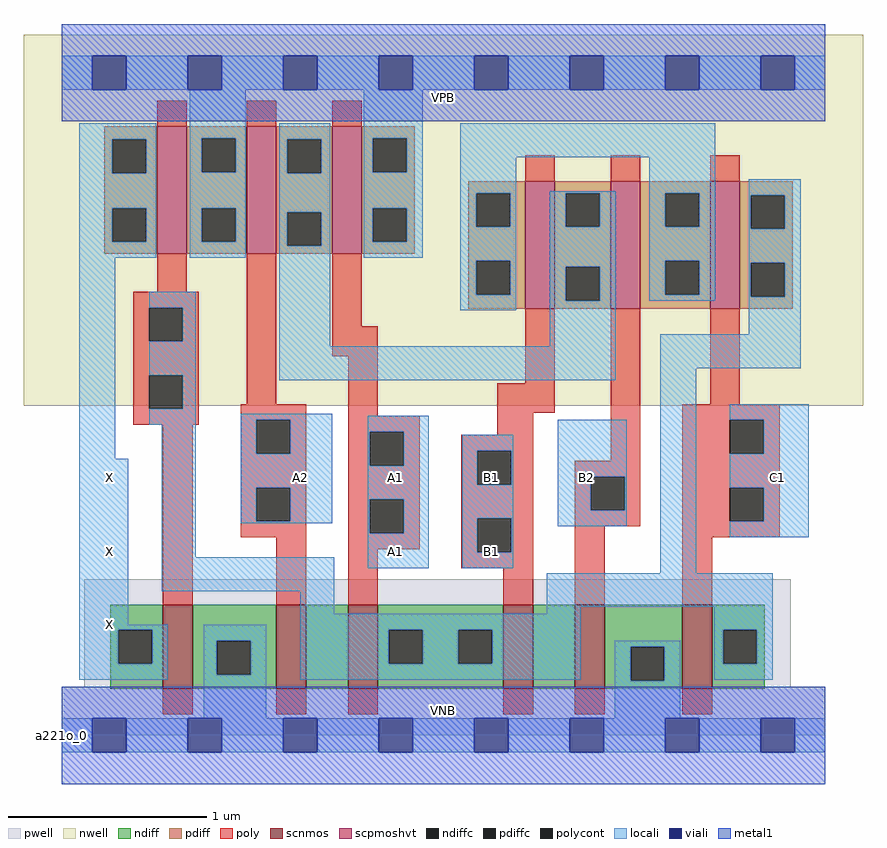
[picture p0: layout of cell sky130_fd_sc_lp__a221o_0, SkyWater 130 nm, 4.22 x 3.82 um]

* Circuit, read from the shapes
.subckt sky130_fd_sc_lp__a221o_0 A1 A2 B1 B2 C1 VGND VNB VPB VPWR X
XM1 VGND n1 X VNB sky130_fd_pr__nfet_01v8 w=0.42 l=0.15
XM2 n2 A2 VGND VNB sky130_fd_pr__nfet_01v8 w=0.42 l=0.15
XM3 n1 A1 n2 VNB sky130_fd_pr__nfet_01v8 w=0.42 l=0.15
XM4 n3 B1 n1 VNB sky130_fd_pr__nfet_01v8 w=0.42 l=0.15
XM5 VGND B2 n3 VNB sky130_fd_pr__nfet_01v8 w=0.42 l=0.15
XM6 n1 C1 VGND VNB sky130_fd_pr__nfet_01v8 w=0.42 l=0.15
XM7 VPWR n1 X VPB sky130_fd_pr__pfet_01v8_hvt w=0.64 l=0.15
XM8 n4 A2 VPWR VPB sky130_fd_pr__pfet_01v8_hvt w=0.64 l=0.15
XM9 VPWR A1 n4 VPB sky130_fd_pr__pfet_01v8_hvt w=0.64 l=0.15
XM10 n4 B1 n5 VPB sky130_fd_pr__pfet_01v8_hvt w=0.64 l=0.15
XM11 n5 B2 n4 VPB sky130_fd_pr__pfet_01v8_hvt w=0.64 l=0.15
XM12 n1 C1 n5 VPB sky130_fd_pr__pfet_01v8_hvt w=0.64 l=0.15
.ends

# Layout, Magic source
magic
tech sky130A
magscale 1 2
<< nwell >>
rect -38 331 806 704
<< pwell >>
rect 23 49 733 157
rect 0 0 768 49
<< scnmos >>
rect 102 47 132 131
rect 216 47 246 131
rect 288 47 318 131
rect 444 47 474 131
rect 516 47 546 131
rect 624 47 654 131
<< scpmoshvt >>
rect 96 484 126 612
rect 186 484 216 612
rect 272 484 302 612
rect 466 429 496 557
rect 552 429 582 557
rect 652 429 682 557
<< ndiff >>
rect 49 106 102 131
rect 49 72 57 106
rect 91 72 102 106
rect 49 47 102 72
rect 132 95 216 131
rect 132 61 156 95
rect 190 61 216 95
rect 132 47 216 61
rect 246 47 288 131
rect 318 106 444 131
rect 318 72 329 106
rect 363 72 399 106
rect 433 72 444 106
rect 318 47 444 72
rect 474 47 516 131
rect 546 89 624 131
rect 546 55 572 89
rect 606 55 624 89
rect 546 47 624 55
rect 654 106 707 131
rect 654 72 665 106
rect 699 72 707 106
rect 654 47 707 72
<< pdiff >>
rect 43 599 96 612
rect 43 565 51 599
rect 85 565 96 599
rect 43 530 96 565
rect 43 496 51 530
rect 85 496 96 530
rect 43 484 96 496
rect 126 600 186 612
rect 126 566 141 600
rect 175 566 186 600
rect 126 530 186 566
rect 126 496 141 530
rect 175 496 186 530
rect 126 484 186 496
rect 216 599 272 612
rect 216 565 227 599
rect 261 565 272 599
rect 216 526 272 565
rect 216 492 227 526
rect 261 492 272 526
rect 216 484 272 492
rect 302 600 355 612
rect 302 566 313 600
rect 347 566 355 600
rect 302 530 355 566
rect 302 496 313 530
rect 347 496 355 530
rect 302 484 355 496
rect 409 545 466 557
rect 409 511 417 545
rect 451 511 466 545
rect 409 477 466 511
rect 409 443 417 477
rect 451 443 466 477
rect 409 429 466 443
rect 496 545 552 557
rect 496 511 507 545
rect 541 511 552 545
rect 496 471 552 511
rect 496 437 507 471
rect 541 437 552 471
rect 496 429 552 437
rect 582 545 652 557
rect 582 511 607 545
rect 641 511 652 545
rect 582 477 652 511
rect 582 443 607 477
rect 641 443 652 477
rect 582 429 652 443
rect 682 543 735 557
rect 682 509 693 543
rect 727 509 735 543
rect 682 475 735 509
rect 682 441 693 475
rect 727 441 735 475
rect 682 429 735 441
<< ndiffc >>
rect 57 72 91 106
rect 156 61 190 95
rect 329 72 363 106
rect 399 72 433 106
rect 572 55 606 89
rect 665 72 699 106
<< pdiffc >>
rect 51 565 85 599
rect 51 496 85 530
rect 141 566 175 600
rect 141 496 175 530
rect 227 565 261 599
rect 227 492 261 526
rect 313 566 347 600
rect 313 496 347 530
rect 417 511 451 545
rect 417 443 451 477
rect 507 511 541 545
rect 507 437 541 471
rect 607 511 641 545
rect 607 443 641 477
rect 693 509 727 543
rect 693 441 727 475
<< poly >>
rect 96 612 126 638
rect 186 612 216 638
rect 272 612 302 638
rect 466 557 496 583
rect 552 557 582 583
rect 652 557 682 583
rect 96 446 126 484
rect 72 430 138 446
rect 72 396 88 430
rect 122 396 138 430
rect 72 362 138 396
rect 72 328 88 362
rect 122 328 138 362
rect 186 333 216 484
rect 272 411 302 484
rect 272 381 318 411
rect 72 312 138 328
rect 180 317 246 333
rect 102 131 132 312
rect 180 283 196 317
rect 230 283 246 317
rect 180 249 246 283
rect 180 215 196 249
rect 230 215 246 249
rect 180 199 246 215
rect 216 131 246 199
rect 288 321 318 381
rect 466 354 496 429
rect 438 324 496 354
rect 288 305 360 321
rect 288 271 310 305
rect 344 271 360 305
rect 438 302 474 324
rect 288 237 360 271
rect 288 203 310 237
rect 344 203 360 237
rect 288 187 360 203
rect 402 286 474 302
rect 402 252 418 286
rect 452 252 474 286
rect 552 276 582 429
rect 652 333 682 429
rect 402 218 474 252
rect 288 131 318 187
rect 402 184 418 218
rect 452 184 474 218
rect 402 168 474 184
rect 444 131 474 168
rect 516 260 582 276
rect 516 226 532 260
rect 566 226 582 260
rect 516 210 582 226
rect 624 317 722 333
rect 624 283 672 317
rect 706 283 722 317
rect 624 249 722 283
rect 624 215 672 249
rect 706 215 722 249
rect 516 131 546 210
rect 624 199 722 215
rect 624 131 654 199
rect 102 21 132 47
rect 216 21 246 47
rect 288 21 318 47
rect 444 21 474 47
rect 516 21 546 47
rect 624 21 654 47
<< polycont >>
rect 88 396 122 430
rect 88 328 122 362
rect 196 283 230 317
rect 196 215 230 249
rect 310 271 344 305
rect 310 203 344 237
rect 418 252 452 286
rect 418 184 452 218
rect 532 226 566 260
rect 672 283 706 317
rect 672 215 706 249
<< locali >>
rect 0 649 31 683
rect 65 649 127 683
rect 161 649 223 683
rect 257 649 319 683
rect 353 649 415 683
rect 449 649 511 683
rect 545 649 607 683
rect 641 649 703 683
rect 737 649 768 683
rect 18 599 95 615
rect 18 565 51 599
rect 85 565 95 599
rect 18 530 95 565
rect 18 496 51 530
rect 85 496 95 530
rect 18 480 95 496
rect 129 600 185 649
rect 129 566 141 600
rect 175 566 185 600
rect 129 530 185 566
rect 129 496 141 530
rect 175 496 185 530
rect 129 480 185 496
rect 219 599 270 615
rect 219 565 227 599
rect 261 565 270 599
rect 219 526 270 565
rect 219 492 227 526
rect 261 492 270 526
rect 18 278 54 480
rect 88 430 135 446
rect 122 396 135 430
rect 88 362 135 396
rect 122 328 135 362
rect 219 391 270 492
rect 304 600 363 649
rect 304 566 313 600
rect 347 566 363 600
rect 304 530 363 566
rect 304 496 313 530
rect 347 496 363 530
rect 304 480 363 496
rect 401 581 657 615
rect 401 545 457 581
rect 401 511 417 545
rect 451 511 457 545
rect 401 477 457 511
rect 401 443 417 477
rect 451 443 457 477
rect 401 427 457 443
rect 491 545 557 547
rect 491 511 507 545
rect 541 511 557 545
rect 491 471 557 511
rect 491 437 507 471
rect 541 437 557 471
rect 591 545 657 581
rect 591 511 607 545
rect 641 511 657 545
rect 591 477 657 511
rect 591 443 607 477
rect 641 443 657 477
rect 591 437 657 443
rect 691 543 743 559
rect 691 509 693 543
rect 727 509 743 543
rect 691 475 743 509
rect 691 441 693 475
rect 727 441 743 475
rect 491 391 557 437
rect 691 403 743 441
rect 219 357 557 391
rect 602 369 743 403
rect 88 312 135 328
rect 18 111 67 278
rect 101 179 135 312
rect 180 317 272 323
rect 180 283 196 317
rect 230 283 272 317
rect 180 249 272 283
rect 180 215 196 249
rect 230 215 272 249
rect 180 213 272 215
rect 308 305 369 321
rect 308 271 310 305
rect 344 271 369 305
rect 308 237 369 271
rect 308 203 310 237
rect 344 203 369 237
rect 101 145 274 179
rect 308 168 369 203
rect 403 286 454 302
rect 403 252 418 286
rect 452 252 454 286
rect 403 218 454 252
rect 403 184 418 218
rect 452 184 454 218
rect 499 260 568 317
rect 499 226 532 260
rect 566 226 568 260
rect 499 210 568 226
rect 403 168 454 184
rect 602 163 638 369
rect 672 317 751 333
rect 706 283 751 317
rect 672 249 751 283
rect 706 215 751 249
rect 672 199 751 215
rect 240 122 274 145
rect 488 129 715 163
rect 488 122 522 129
rect 18 106 107 111
rect 18 72 57 106
rect 91 72 107 106
rect 18 56 107 72
rect 143 95 206 111
rect 143 61 156 95
rect 190 61 206 95
rect 143 17 206 61
rect 240 106 522 122
rect 240 72 329 106
rect 363 72 399 106
rect 433 72 522 106
rect 656 106 715 129
rect 240 56 522 72
rect 556 89 622 95
rect 556 55 572 89
rect 606 55 622 89
rect 656 72 665 106
rect 699 72 715 106
rect 656 56 715 72
rect 556 17 622 55
rect 0 -17 31 17
rect 65 -17 127 17
rect 161 -17 223 17
rect 257 -17 319 17
rect 353 -17 415 17
rect 449 -17 511 17
rect 545 -17 607 17
rect 641 -17 703 17
rect 737 -17 768 17
<< viali >>
rect 31 649 65 683
rect 127 649 161 683
rect 223 649 257 683
rect 319 649 353 683
rect 415 649 449 683
rect 511 649 545 683
rect 607 649 641 683
rect 703 649 737 683
rect 31 -17 65 17
rect 127 -17 161 17
rect 223 -17 257 17
rect 319 -17 353 17
rect 415 -17 449 17
rect 511 -17 545 17
rect 607 -17 641 17
rect 703 -17 737 17
<< metal1 >>
rect 0 683 768 715
rect 0 649 31 683
rect 65 649 127 683
rect 161 649 223 683
rect 257 649 319 683
rect 353 649 415 683
rect 449 649 511 683
rect 545 649 607 683
rect 641 649 703 683
rect 737 649 768 683
rect 0 617 768 649
rect 0 17 768 49
rect 0 -17 31 17
rect 65 -17 127 17
rect 161 -17 223 17
rect 257 -17 319 17
rect 353 -17 415 17
rect 449 -17 511 17
rect 545 -17 607 17
rect 641 -17 703 17
rect 737 -17 768 17
rect 0 -49 768 -17
<< labels >>
flabel pwell s 0 0 768 49 0 FreeSans 200 0 0 0 VNB
port 7 nsew ground bidirectional
flabel nwell s 0 617 768 666 0 FreeSans 200 0 0 0 VPB
port 8 nsew power bidirectional
rlabel comment s 0 0 0 0 4 a221o_0
flabel metal1 s 0 617 768 666 0 FreeSans 340 0 0 0 VPWR
port 9 nsew power bidirectional
flabel metal1 s 0 0 768 49 0 FreeSans 340 0 0 0 VGND
port 6 nsew ground bidirectional
flabel locali s 319 168 353 202 0 FreeSans 340 0 0 0 A1
port 1 nsew signal input
flabel locali s 319 242 353 276 0 FreeSans 340 0 0 0 A1
port 1 nsew signal input
flabel locali s 223 242 257 276 0 FreeSans 340 0 0 0 A2
port 2 nsew signal input
flabel locali s 415 168 449 202 0 FreeSans 340 0 0 0 B1
port 3 nsew signal input
flabel locali s 415 242 449 276 0 FreeSans 340 0 0 0 B1
port 3 nsew signal input
flabel locali s 511 242 545 276 0 FreeSans 340 0 0 0 B2
port 4 nsew signal input
flabel locali s 703 242 737 276 0 FreeSans 340 0 0 0 C1
port 5 nsew signal input
flabel locali s 31 94 65 128 0 FreeSans 340 0 0 0 X
port 10 nsew signal output
flabel locali s 31 168 65 202 0 FreeSans 340 0 0 0 X
port 10 nsew signal output
flabel locali s 31 242 65 276 0 FreeSans 340 0 0 0 X
port 10 nsew signal output
<< properties >>
string LEFsite unit
string LEFclass CORE
string FIXED_BBOX 0 0 768 666
string GDS_FILE $PDKPATH/libs.ref/sky130_fd_sc_lp/gds/sky130_fd_sc_lp.gds
string LEFsymmetry X Y R90
string GDS_END 6141998
string GDS_START 6134276
<< end >>
